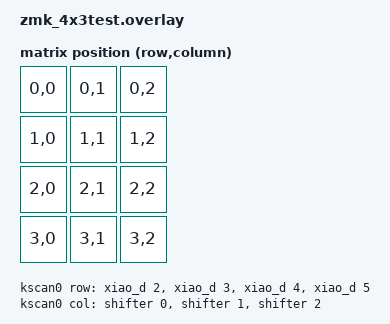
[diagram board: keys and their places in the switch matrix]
#include <dt-bindings/zmk/matrix_transform.h> // Put this with the other includes at the top of your overlay
// #include "zmk_4x3test-layouts.dtsi"
#include <physical_layouts.dtsi>

/* 
https://wiki.seeedstudio.com/XIAO-nRF52840-Zephyr-RTOS/#onboard-led
https://github.com/zmkfirmware/zmk/blob/main/app/boards/shields/boardsource3x4/boardsource3x4.overlay

/ {
    xiao_d: connector {
        compatible = "seeed,xiao-gpio";
        #gpio-cells = <2>;
        gpio-map-mask = <0xffffffff 0xffffffc0>;
        gpio-map-pass-thru = <0 0x3f>;
        gpio-map
            = <0 0 &gpio0 2 0>  // D0 &xiao_d 0
            , <1 0 &gpio0 3 0>  // D1 
            , <2 0 &gpio0 28 0>  // D2 
            , <3 0 &gpio0 29 0>  // D3 
            , <4 0 &gpio0 4 0>  // D4 
            , <5 0 &gpio0 5 0>  // D5 
            , <6 0 &gpio1 11 0>  // D6 
            , <7 0 &gpio1 12 0>  // D7 
            , <8 0 &gpio1 13 0>  // D8 
            , <9 0 &gpio1 14 0>  // D9 
            , <10 0 &gpio1 15 0>  // D10 
            ;
    };
};
https://files.seeedstudio.com/wiki/Seeeduino-XIAO/img/Seeeduino-XIAO-pinout-1.jpg
*/

&xiao_serial { status = "disabled"; };
    // https://github.com/petejohanson/revxlp-config/blob/main/config/boards/shields/revxlp/revxlp.overlay#L10

&xiao_spi {
    status = "okay";
    cs-gpios = <&xiao_d 9 GPIO_ACTIVE_LOW>;
    shifter: 595@0 {
        compatible = "zmk,gpio-595";
        status = "okay";
        gpio-controller;
        spi-max-frequency = <200000>;
        reg = <0>;
        #gpio-cells = <2>;
        ngpios = <8>;
    };
};

/ {
    chosen {
		zmk,physical-layout = &physical_layout0;
		zmk,kscan = &kscan0;
	};

    default_transform: keymap_transform0 { 
        compatible = "zmk,matrix-transform";
        columns = <3>; // Length of the "col-gpios" array
        rows = <4>; // Length of the "row-gpios" array
        map = <
            RC(0,0) RC(0,1) RC(0,2)
            RC(1,0) RC(1,1) RC(1,2)
            RC(2,0) RC(2,1) RC(2,2)
            RC(3,0) RC(3,1) RC(3,2)
        >;
    };

    kscan0: kscan0 {
        compatible = "zmk,kscan-gpio-matrix";
        diode-direction = "col2row";
        wakeup-source;
        
        col-gpios
            = <&shifter 0 GPIO_ACTIVE_HIGH>
            , <&shifter 1 GPIO_ACTIVE_HIGH>
            , <&shifter 2 GPIO_ACTIVE_HIGH>
            ;

        row-gpios
            = <&xiao_d 2 (GPIO_ACTIVE_HIGH | GPIO_PULL_DOWN)>
            , <&xiao_d 3 (GPIO_ACTIVE_HIGH | GPIO_PULL_DOWN)>
            , <&xiao_d 4 (GPIO_ACTIVE_HIGH | GPIO_PULL_DOWN)>
            , <&xiao_d 5 (GPIO_ACTIVE_HIGH | GPIO_PULL_DOWN)>
            ;
    };

    // from .dtsi
    physical_layout0: physical_layout0 { // https://zmk.dev/docs/development/hardware-integration/physical-layouts#multiple-physical-layouts/
        compatible = "zmk,physical-layout";
        display-name = "Default Layout";
        transform = <&default_transform>;
        kscan = <&kscan0>;
        keys  //                     w   h    x    y     rot    rx    ry
            = <&key_physical_attrs 100 100    0    0       0     0     0>
            , <&key_physical_attrs 100 100  100    0       0     0     0>
            , <&key_physical_attrs 100 100  200    0       0     0     0>
            , <&key_physical_attrs 100 100    0  100       0     0     0>
            , <&key_physical_attrs 100 100  100  100       0     0     0>
            , <&key_physical_attrs 100 100  200  100       0     0     0>
            , <&key_physical_attrs 100 100    0  200       0     0     0>
            , <&key_physical_attrs 100 100  100  200       0     0     0>
            , <&key_physical_attrs 100 100  200  200       0     0     0>
            , <&key_physical_attrs 100 100    0  300       0     0     0>
            , <&key_physical_attrs 100 100  100  300       0     0     0>
            , <&key_physical_attrs 100 100  200  300       0     0     0>
            ;
            // https://zmk.dev/docs/development/hardware-integration/physical-layouts#physical-layout-with-keys-example
            // https://zmk.dev/docs/features/studio#adding-zmk-studio-support-to-a-keyboard
        };

    // from .dtsi
    position_map { // https://zmk.dev/docs/development/hardware-integration/physical-layouts#writing-a-position-map
        compatible = "zmk,physical-layout-position-map";
        complete; // Optional, see 'Example non-complete position map'
        layout1: layout1 {
            physical-layout = <&physical_layout0>;
            positions = < 0  1  2 >,
                        < 3  4  5 >,
                        < 6  7  8 >,
                        < 9 10 11 >; // List of positions to map
        };
    };
    
    // the following is commented for https://zmk.dev/docs/features/studio#adding-zmk-studio-support-to-a-keyboard
    
    // transfor to dtsi
};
